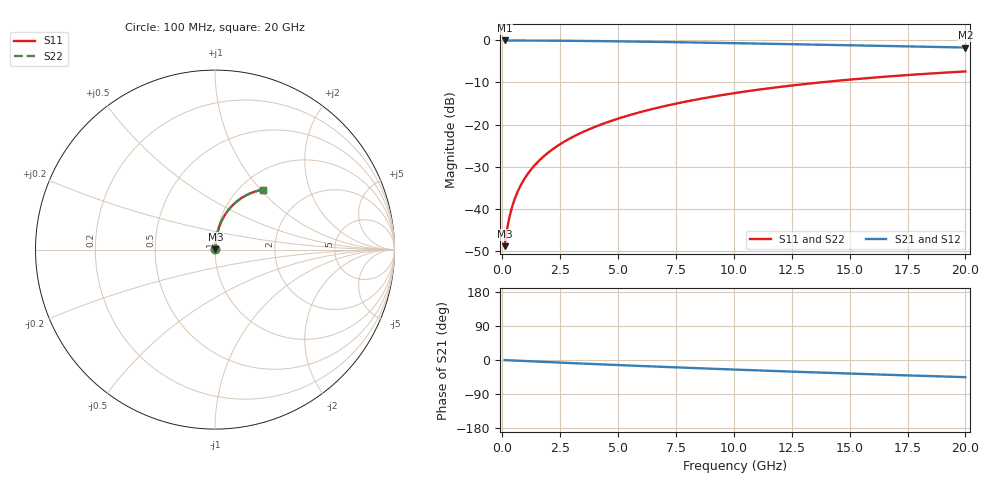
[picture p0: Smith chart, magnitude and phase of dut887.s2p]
! Touchstone file exported from HFSS 2024.1.0
!  File:  C:/UserFiles/LocalFiles/RDL_TSV_Batchsim/temp_RDL_top_887_1779857046.aedt
!  Generated:  12:46:31 PM May 27, 2026
!  Design:  RDL_top
!  Project:  temp_RDL_top_887_1779857046
!  Setup:  Setup1
!  Solution:  Sweep
! Variables:
!  dtsv = 10.80580581um
!  hbump = 3um
!  htsv = 67.87um
!  ldown = 100um
!  lrdl = 634.5um
!  p = 40
!  p1 = 53.04um
!  rhole = 1um
!  t = 450um
!  tdown = 3.915915916um
!  trdl = 4.81um
!  wdown = 15.38538539um
!  wrdl = 18.87um
# GHz S MA R 50.000000
! Terminal data exported
! Port[1] = Box2_T1
! Port[2] = Box2_T2
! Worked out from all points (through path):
!   200 points, 100 MHz to 20 GHz, reference 50 ohm
!   highest |S21| = -0.02 dB at 100 MHz (marker M1); lowest = -1.7 dB at 20 GHz (marker M2)
!   group delay of S21, straight-line fit = 6.25 ps
!   lowest |S11| = -48.9 dB at 100 MHz (marker M3), VSWR 1.01, Z = 50.3 + j0.251 ohm
!   |S11| at or under -10 dB: start of sweep to 13.71 GHz
!   |S22| runs from -48.9 to -7.4 dB; largest |S21 - S12| = 1.2e-14
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0.1  0.003606 43.7  0.9974 -0.3  0.9974 -0.3  0.003606 43.7
! Gamma 0 0 0 0
! Port Impedance 50 0 50 0
0.2  0.00562 60.8  0.9972 -0.6  0.9972 -0.6  0.00562 60.8
0.3  0.007804 68.4  0.9971 -0.8  0.9971 -0.8  0.007804 68.4
0.4  0.01003 72.6  0.9969 -1.1  0.9969 -1.1  0.01003 72.6
0.5  0.01227 75.3  0.9968 -1.4  0.9968 -1.4  0.01227 75.3
0.6  0.01454 77.2  0.9966 -1.7  0.9966 -1.7  0.01454 77.2
0.8  0.0191 79.6  0.9963 -2.2  0.9963 -2.2  0.0191 79.6
1.1  0.02601 81.5  0.9956 -3.0  0.9956 -3.0  0.02601 81.5
1.5  0.03529 82.6  0.9944 -4.1  0.9944 -4.1  0.03528 82.6
1.8  0.04227 82.9  0.9934 -5.0  0.9934 -5.0  0.04227 82.9
2.1  0.04927 83.0  0.9921 -5.8  0.9921 -5.8  0.04927 83.0
2.7  0.06332 82.9  0.9892 -7.4  0.9892 -7.4  0.06331 82.9
3.5  0.08214 82.2  0.9844 -9.5  0.9844 -9.5  0.08213 82.2
4.2  0.09871 81.4  0.9796 -11.3  0.9796 -11.3  0.09869 81.3
5  0.1177 80.2  0.9735 -13.4  0.9735 -13.4  0.1177 80.2
6.8  0.1608 77.3  0.9579 -17.8  0.9579 -17.8  0.1607 77.2
8.4  0.1988 74.3  0.9427 -21.6  0.9427 -21.6  0.1987 74.2
10.1  0.2382 70.9  0.9257 -25.4  0.9257 -25.4  0.2381 70.9
11.7  0.2739 67.6  0.9092 -28.9  0.9092 -28.9  0.2738 67.6
13.4  0.31 64.1  0.8914 -32.5  0.8914 -32.5  0.3098 64.1
16.7  0.3734 57.6  0.8565 -39.1  0.8565 -39.1  0.3733 57.5
20  0.4279 51.4  0.8222 -45.3  0.8222 -45.3  0.4277 51.4
